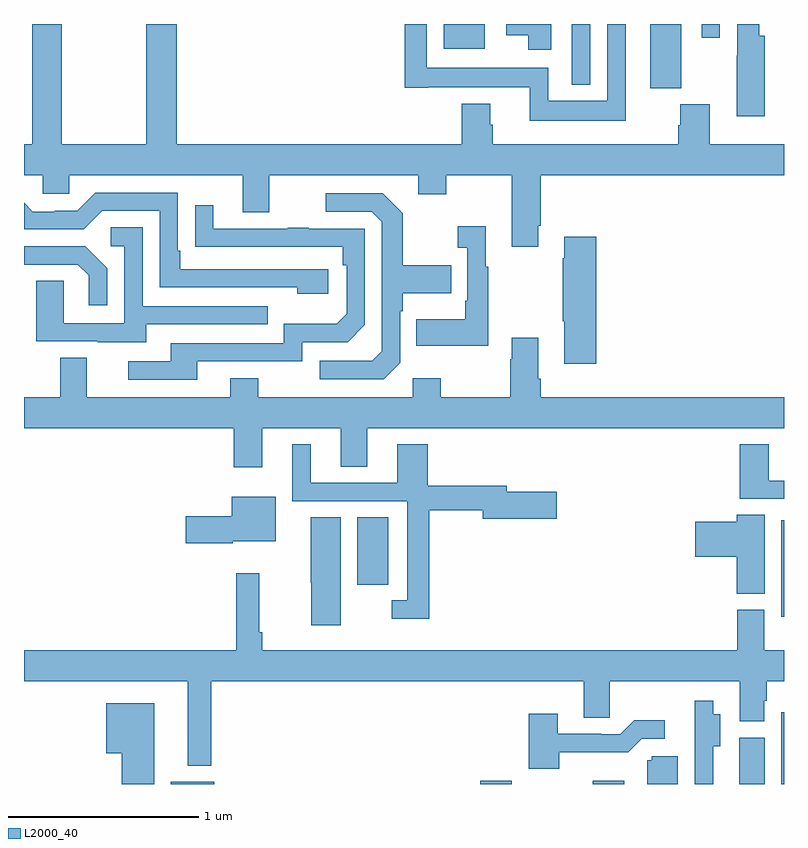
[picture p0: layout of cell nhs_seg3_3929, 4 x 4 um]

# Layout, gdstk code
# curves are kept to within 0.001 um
import gdstk
lib = gdstk.Library(unit=1e-6, precision=1e-09)
def R(c, l, rs):  # rectangles x0, y0, x1, y1
    for r in rs: c.add(gdstk.rectangle(r[:2], r[2:], *l))
def P(c, l, *ps):  # polygons
    for p in ps: c.add(gdstk.Polygon(p, *l))
L2000_40 = (2000, 40)

nhs_seg3_3929 = lib.new_cell('nhs_seg3_3929')
R(nhs_seg3_3929, L2000_40, [(315.773,676.4,316,676.411), (317.402,676.4,317.568,676.417), (317.993,676.4,318.16,676.417), (318.764,676.4,318.898,676.644), (318.986,676.4,319,676.777), (318.986,677.28,319,677.788), (316.754,677.448,316.918,677.804), (318.296,680.062,318.46,680.4), (317.883,680.081,317.979,680.4), (317.21,680.27,317.425,680.4), (318.567,680.328,318.663,680.4)])
P(nhs_seg3_3929, L2000_40, [(317.707,679.339),(317.72,679.339),(317.72,679.604),(319,679.604),(319,679.768),(318.608,679.768),(318.608,679.977),(318.455,679.977),(318.455,679.868),(318.443,679.868),(318.443,679.768),(317.468,679.768),(317.468,679.869),(317.455,679.869),(317.455,679.981),(317.303,679.981),(317.303,679.768),(315.803,679.768),(315.803,680.4),(315.643,680.4),(315.643,679.768),(315.198,679.768),(315.198,680.4),(315.043,680.4),(315.043,679.768),(315,679.768),(315,679.604),(315.099,679.604),(315.099,679.506),(315.237,679.506),(315.237,679.604),(316.151,679.604),(316.151,679.41),(316.291,679.41),(316.291,679.604),(317.075,679.604),(317.075,679.505),(317.223,679.505),(317.223,679.604),(317.567,679.604),(317.567,679.227),(317.707,679.227)],
  [(318.166,680.4),(318.069,680.4),(318.069,679.996),(317.76,679.996),(317.76,680.17),(317.121,680.17),(317.121,680.4),(317.005,680.4),(317.005,680.064),(317.128,680.064),(317.128,680.066),(317.663,680.066),(317.663,679.892),(318.166,679.892)],
  [(318.899,680.338),(318.869,680.338),(318.869,680.4),(318.753,680.4),(318.753,680.234),(318.752,680.234),(318.752,679.914),(318.899,679.914)],
  [(317.776,680.4),(317.537,680.4),(317.537,680.342),(317.654,680.342),(317.654,680.265),(317.776,680.265)],
  [(316.6,679.11),(315.823,679.11),(315.823,679.207),(315.81,679.207),(315.81,679.512),(315.375,679.512),(315.279,679.416),(315.161,679.416),(315.161,679.413),(315.045,679.413),(315,679.458),(315,679.32),(315.315,679.32),(315.411,679.416),(315.714,679.416),(315.714,679.014),(316.439,679.014),(316.439,678.98),(316.6,678.98)],
  [(316.98,678.618),(316.98,678.887),(316.993,678.887),(316.993,678.983),(317.249,678.983),(317.249,679.131),(316.993,679.131),(316.993,679.403),(316.887,679.509),(316.587,679.509),(316.587,679.413),(316.83,679.413),(316.884,679.359),(316.884,678.678),(316.833,678.627),(316.557,678.627),(316.557,678.531),(316.893,678.531)],
  [(315.913,678.624),(316.464,678.624),(316.464,678.726),(316.704,678.726),(316.794,678.816),(316.794,679.323),(316.499,679.323),(316.499,679.328),(316.387,679.328),(316.387,679.323),(315.997,679.323),(315.997,679.447),(315.901,679.447),(315.901,679.228),(316.678,679.227),(316.678,679.13),(316.698,679.13),(316.698,678.876),(316.645,678.823),(316.368,678.823),(316.368,678.72),(315.773,678.72),(315.773,678.624),(315.549,678.624),(315.549,678.528),(315.913,678.528)],
  [(317.443,679.123),(317.431,679.123),(317.431,679.336),(317.283,679.336),(317.283,679.223),(317.334,679.223),(317.334,678.943),(317.322,678.943),(317.322,678.847),(317.065,678.847),(317.065,678.707),(317.443,678.707)],
  [(315.643,678.819),(316.283,678.819),(316.283,678.915),(315.624,678.915),(315.624,679.331),(315.456,679.331),(315.456,679.23),(315.528,679.23),(315.528,678.825),(315.21,678.825),(315.21,679.049),(315.065,679.049),(315.065,678.729),(315.389,678.729),(315.389,678.725),(315.643,678.725)],
  [(318.011,679.279),(317.843,679.279),(317.843,679.166),(317.836,679.166),(317.836,678.835),(317.843,678.835),(317.843,678.612),(318.011,678.612)],
  [(315.438,679.114),(315.322,679.23),(315,679.23),(315,679.134),(315.284,679.134),(315.341,679.077),(315.341,678.921),(315.438,678.921)],
  [(316.255,678.272),(316.667,678.272),(316.667,678.07),(316.807,678.07),(316.807,678.272),(319,678.272),(319,678.436),(317.72,678.436),(317.72,678.532),(317.707,678.532),(317.707,678.748),(317.567,678.748),(317.567,678.635),(317.56,678.635),(317.56,678.436),(317.193,678.436),(317.193,678.535),(317.046,678.535),(317.046,678.436),(316.233,678.436),(316.233,678.535),(316.085,678.535),(316.085,678.436),(315.331,678.436),(315.331,678.644),(315.191,678.644),(315.191,678.436),(315,678.436),(315,678.272),(316.103,678.272),(316.103,678.066),(316.255,678.066)],
  [(317.132,677.842),(317.414,677.842),(317.414,677.795),(317.803,677.795),(317.803,677.937),(317.542,677.937),(317.542,677.971),(317.126,677.971),(317.126,678.187),(316.964,678.187),(316.964,677.985),(316.51,677.985),(316.51,678.187),(316.412,678.187),(316.412,677.889),(317.016,677.889),(317.016,677.367),(316.935,677.367),(316.935,677.27),(317.132,677.27)],
  [(319,677.997),(318.919,677.997),(318.919,678.187),(318.767,678.187),(318.767,677.901),(319,677.901)],
  [(316.098,677.678),(316.324,677.678),(316.324,677.911),(316.094,677.911),(316.094,677.808),(315.852,677.808),(315.852,677.666),(316.098,677.666)],
  [(318.898,677.816),(318.752,677.816),(318.752,677.78),(318.534,677.78),(318.534,677.597),(318.752,677.597),(318.752,677.401),(318.898,677.401)],
  [(316.666,677.804),(316.508,677.804),(316.508,677.46),(316.511,677.46),(316.511,677.235),(316.666,677.235)],
  [(315.985,676.94),(317.945,676.94),(317.945,676.75),(318.084,676.75),(318.084,676.94),(318.767,676.94),(318.767,676.729),(318.895,676.729),(318.895,676.839),(318.908,676.839),(318.908,676.94),(319,676.94),(319,677.104),(318.895,677.104),(318.895,677.316),(318.755,677.316),(318.755,677.104),(316.253,677.104),(316.253,677.2),(316.238,677.2),(316.238,677.509),(316.117,677.509),(316.117,677.104),(315,677.104),(315,676.94),(315.863,676.94),(315.863,676.496),(315.985,676.496)],
  [(318.628,676.598),(318.664,676.598),(318.664,676.768),(318.628,676.768),(318.628,676.837),(318.53,676.837),(318.53,676.614),(318.531,676.614),(318.531,676.4),(318.628,676.4)],
  [(315.685,676.825),(315.434,676.825),(315.434,676.562),(315.515,676.562),(315.515,676.4),(315.685,676.4)],
  [(317.817,676.566),(318.179,676.566),(318.252,676.638),(318.373,676.638),(318.373,676.735),(318.211,676.735),(318.138,676.662),(318.038,676.662),(318.038,676.665),(317.809,676.665),(317.809,676.771),(317.657,676.771),(317.657,676.481),(317.817,676.481)],
  [(318.442,676.545),(318.303,676.545),(318.303,676.524),(318.281,676.524),(318.281,676.4),(318.442,676.4)])

lib.write_gds('nhs_seg3_3929.gds')
